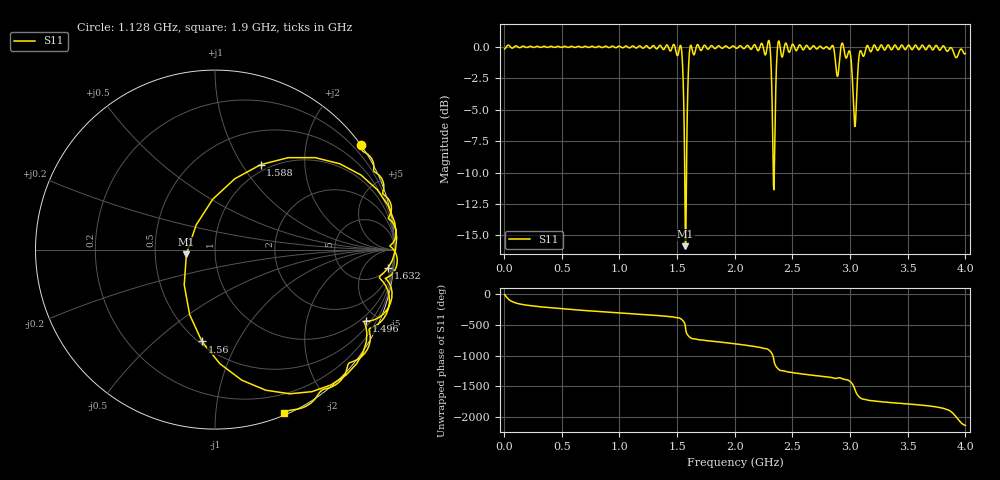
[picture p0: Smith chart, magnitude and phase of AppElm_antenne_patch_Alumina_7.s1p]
! TOUCHSTONE file generated by CST MICROWAVE STUDIO
! Date and time: Thu Jun  9 09:30:40 2022
! Project name: AppElm_antenne_patch_Alumina.cst
! Parameters = {L=30.5; W=41.8; e=0.035; h=1.6; lambda=0.190476; ls=90; w0=1.12; w1=0.3916; ws=90; y0=14; y1=10}
! Header version: 2018
! Port assignment regex: !\s*Touchstone port\s*([0-9]+)\s*=\s*(CST MWS port|CST DS port)\s*([0-9]+|Zmin|Zmax)\s*\(\"(.*)\"\)(\s*mode\s*([0-9]+))?.*
! Touchstone port assignment:
! Touchstone port 1 = CST MWS port 1 ("")
# GHz S MA R 50
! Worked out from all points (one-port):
!   1000 points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, 4 MHz to 4 GHz, reference 50 ohm
!   lowest |S11| = -15.8 dB at 1.572 GHz (marker M1), VSWR 1.38, Z = 36.2 - j1.88 ohm
!   |S11| at or under -10 dB: 1.566 GHz to 1.581 GHz (15.19 MHz wide, 0.966 % of centre); 2.334075 GHz to 2.342641 GHz (8.566 MHz wide, 0.366 % of centre)
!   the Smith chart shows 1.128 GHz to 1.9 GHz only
!   S11 on the Smith chart (normalised r, x): 1.128 GHz: -0.01, +3.12; 1.496 GHz: 0.70, -4.35; 1.56 GHz: 0.52, -0.72; 1.588 GHz: 0.91, +1.21; 1.632 GHz: 5, -17; 1.9 GHz: 0.02, -1.51
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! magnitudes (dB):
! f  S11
! 4 MHz  -0.2
! 504 MHz  0.0
! 1.004 GHz  0.0
! 1.128 GHz  0.0
! 1.496 GHz  -0.6
! 1.504 GHz  -0.7
! 1.536 GHz  -0.1
! 1.56 GHz  -5.7
! 1.572 GHz  -15.8
! 1.588 GHz  -5.4
! 1.608 GHz  -0.3
! 1.632 GHz  -0.3
! 1.9 GHz  -0.1
! 2.004 GHz  -0.1
! 2.292 GHz  0.5
! 2.308 GHz  -0.3
! 2.328 GHz  -6.4
! 2.34 GHz  -11.4
! 2.38 GHz  0.5
! 2.504 GHz  0.2
! 2.84 GHz  0.0
! 2.888 GHz  -2.3
! 2.936 GHz  0.3
! 3.004 GHz  -0.6
! 3.044 GHz  -6.3
! 3.096 GHz  -0.4
! 3.504 GHz  0.1
! 4 GHz  -0.5
